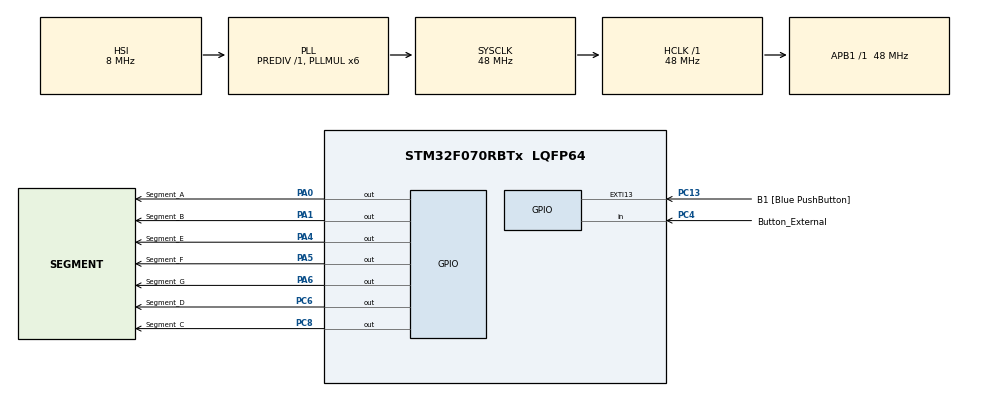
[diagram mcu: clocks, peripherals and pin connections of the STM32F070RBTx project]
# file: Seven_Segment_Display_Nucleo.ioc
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Mcu.Family=STM32F0
Mcu.Name=STM32F070RBTx
Mcu.Package=LQFP64
PA0.GPIO_Label=Segment_A
PA0.Signal=GPIO_Output
PA1.GPIO_Label=Segment_B
PA1.Signal=GPIO_Output
PA13.GPIO_Label=TMS
PA13.Mode=Serial_Wire
PA13.Signal=SYS_SWDIO
PA14.GPIO_Label=TCK
PA14.Mode=Serial_Wire
PA14.Signal=SYS_SWCLK
PA4.GPIO_Label=Segment_E
PA4.Signal=GPIO_Output
PA5.GPIO_Label=Segment_F
PA5.Signal=GPIO_Output
PA6.GPIO_Label=Segment_G
PA6.Signal=GPIO_Output
PC13.GPIO_Label=B1 [Blue PushButton]
PC13.GPIO_ModeDefaultEXTI=GPIO_MODE_IT_FALLING
PC13.Signal=GPXTI13
PC14-OSC32_IN.GPIO_Label=RCC_OSC32_IN
PC14-OSC32_IN.Mode=LSE-External-Oscillator
PC14-OSC32_IN.Signal=RCC_OSC32_IN
PC15-OSC32_OUT.GPIO_Label=RCC_OSC32_OUT
PC15-OSC32_OUT.Mode=LSE-External-Oscillator
PC15-OSC32_OUT.Signal=RCC_OSC32_OUT
PC4.GPIO_Label=Button_External
PC4.GPIO_PuPd=GPIO_PULLDOWN
PC4.Signal=GPIO_Input
PC6.GPIO_Label=Segment_D
PC6.Signal=GPIO_Output
PC8.GPIO_Label=Segment_C
PC8.Signal=GPIO_Output
PF0-OSC_IN.GPIO_Label=RCC_OSC_IN
PF0-OSC_IN.Mode=HSE-External-Clock-Source
PF0-OSC_IN.Signal=RCC_OSC_IN
PF1-OSC_OUT.GPIO_Label=RCC_OSC_OUT
PF1-OSC_OUT.Signal=RCC_OSC_OUT
ProjectManager.HeapSize=0x200
ProjectManager.StackSize=0x400
ProjectManager.TargetToolchain=STM32CubeIDE
RCC.AHBFreq_Value=48000000
RCC.APB1Freq_Value=48000000
RCC.APB1TimFreq_Value=48000000
RCC.HCLKFreq_Value=48000000
RCC.PLLMUL=RCC_PLL_MUL6
RCC.SYSCLKFreq_VALUE=48000000
RCC.SYSCLKSource=RCC_SYSCLKSOURCE_PLLCLK
board=NUCLEO-F070RB

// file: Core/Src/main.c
/* USER CODE BEGIN Header */
/**
  ******************************************************************************
  * @file           : main.c
  * @brief          : Main program body
  ******************************************************************************
  * @attention
  *
  * Copyright (c) 2023 STMicroelectronics.
  * All rights reserved.
  *
  * This software is licensed under terms that can be found in the LICENSE file
  * in the root directory of this software component.
  * If no LICENSE file comes with this software, it is provided AS-IS.
  *
  ******************************************************************************
  */
/* USER CODE END Header */
#include "main.h"

/* USER CODE BEGIN PD */

uint8_t buttonCounter = 0;
uint8_t buttonState = 0;

/* USER CODE END PD */

void SystemClock_Config(void);
static void MX_GPIO_Init(void);

int main(void)
{

  /* MCU Configuration--------------------------------------------------------*/

  /* Reset of all peripherals, Initializes the Flash interface and the Systick. */
  HAL_Init();

  /* Configure the system clock */
  SystemClock_Config();

  /* Initialize all configured peripherals */
  MX_GPIO_Init();

  /* Infinite loop */
  /* USER CODE BEGIN WHILE */
  while (1)
  {

	  if ((buttonState = (HAL_GPIO_ReadPin(Button_External_GPIO_Port, Button_External_Pin))) == 1)
	  {
		  while ((buttonState = (HAL_GPIO_ReadPin(Button_External_GPIO_Port, Button_External_Pin))) == 1);
		  HAL_Delay(300);

		  buttonCounter = buttonCounter + 1;
		  //HAL_Delay(300);

	  }

	  if (buttonCounter == 0) // Display "1"
	  {
		  HAL_GPIO_WritePin(Segment_A_GPIO_Port, Segment_A_Pin, GPIO_PIN_SET);
		  HAL_GPIO_WritePin(Segment_B_GPIO_Port, Segment_B_Pin, GPIO_PIN_SET);
		  HAL_GPIO_WritePin(Segment_C_GPIO_Port, Segment_C_Pin, GPIO_PIN_SET);
		  HAL_GPIO_WritePin(Segment_D_GPIO_Port, Segment_D_Pin, GPIO_PIN_SET);
		  HAL_GPIO_WritePin(Segment_E_GPIO_Port, Segment_E_Pin, GPIO_PIN_SET);
		  HAL_GPIO_WritePin(Segment_F_GPIO_Port, Segment_F_Pin, GPIO_PIN_SET);
		  HAL_GPIO_WritePin(Segment_G_GPIO_Port, Segment_G_Pin, GPIO_PIN_RESET);

	  }

	  else if (buttonCounter == 1) // Display "1"
	  {
		  HAL_GPIO_WritePin(Segment_A_GPIO_Port, Segment_A_Pin, GPIO_PIN_RESET);
		  HAL_GPIO_WritePin(Segment_B_GPIO_Port, Segment_B_Pin, GPIO_PIN_SET);
		  HAL_GPIO_WritePin(Segment_C_GPIO_Port, Segment_C_Pin, GPIO_PIN_SET);
		  HAL_GPIO_WritePin(Segment_D_GPIO_Port, Segment_D_Pin, GPIO_PIN_RESET);
		  HAL_GPIO_WritePin(Segment_E_GPIO_Port, Segment_E_Pin, GPIO_PIN_RESET);
		  HAL_GPIO_WritePin(Segment_F_GPIO_Port, Segment_F_Pin, GPIO_PIN_RESET);
		  HAL_GPIO_WritePin(Segment_G_GPIO_Port, Segment_G_Pin, GPIO_PIN_RESET);

	  }

	  else if (buttonCounter == 2){ // Display "2"

		  HAL_GPIO_WritePin(Segment_A_GPIO_Port, Segment_A_Pin, GPIO_PIN_SET);
		  HAL_GPIO_WritePin(Segment_B_GPIO_Port, Segment_B_Pin, GPIO_PIN_SET);
		  HAL_GPIO_WritePin(Segment_C_GPIO_Port, Segment_C_Pin, GPIO_PIN_RESET);
		  HAL_GPIO_WritePin(Segment_D_GPIO_Port, Segment_D_Pin, GPIO_PIN_SET);
		  HAL_GPIO_WritePin(Segment_E_GPIO_Port, Segment_E_Pin, GPIO_PIN_SET);
		  HAL_GPIO_WritePin(Segment_F_GPIO_Port, Segment_F_Pin, GPIO_PIN_RESET);
		  HAL_GPIO_WritePin(Segment_G_GPIO_Port, Segment_G_Pin, GPIO_PIN_SET);

	  }

	  else if (buttonCounter == 3){ // Display "3"

		  HAL_GPIO_WritePin(Segment_A_GPIO_Port, Segment_A_Pin, GPIO_PIN_SET);
		  HAL_GPIO_WritePin(Segment_B_GPIO_Port, Segment_B_Pin, GPIO_PIN_SET);
		  HAL_GPIO_WritePin(Segment_C_GPIO_Port, Segment_C_Pin, GPIO_PIN_SET);
		  HAL_GPIO_WritePin(Segment_D_GPIO_Port, Segment_D_Pin, GPIO_PIN_SET);
		  HAL_GPIO_WritePin(Segment_E_GPIO_Port, Segment_E_Pin, GPIO_PIN_RESET);
		  HAL_GPIO_WritePin(Segment_F_GPIO_Port, Segment_F_Pin, GPIO_PIN_RESET);
		  HAL_GPIO_WritePin(Segment_G_GPIO_Port, Segment_G_Pin, GPIO_PIN_SET);

	  }

	  else if (buttonCounter == 4){ // Display "4"

		  HAL_GPIO_WritePin(Segment_A_GPIO_Port, Segment_A_Pin, GPIO_PIN_RESET);
		  HAL_GPIO_WritePin(Segment_B_GPIO_Port, Segment_B_Pin, GPIO_PIN_SET);
		  HAL_GPIO_WritePin(Segment_C_GPIO_Port, Segment_C_Pin, GPIO_PIN_SET);
		  HAL_GPIO_WritePin(Segment_D_GPIO_Port, Segment_D_Pin, GPIO_PIN_RESET);
		  HAL_GPIO_WritePin(Segment_E_GPIO_Port, Segment_E_Pin, GPIO_PIN_RESET);
		  HAL_GPIO_WritePin(Segment_F_GPIO_Port, Segment_F_Pin, GPIO_PIN_SET);
		  HAL_GPIO_WritePin(Segment_G_GPIO_Port, Segment_G_Pin, GPIO_PIN_SET);

	  }

	  else if (buttonCounter == 5){ // Display "5"

		  HAL_GPIO_WritePin(Segment_A_GPIO_Port, Segment_A_Pin, GPIO_PIN_SET);
		  HAL_GPIO_WritePin(Segment_B_GPIO_Port, Segment_B_Pin, GPIO_PIN_RESET);
		  HAL_GPIO_WritePin(Segment_C_GPIO_Port, Segment_C_Pin, GPIO_PIN_SET);
		  HAL_GPIO_WritePin(Segment_D_GPIO_Port, Segment_D_Pin, GPIO_PIN_SET);
		  HAL_GPIO_WritePin(Segment_E_GPIO_Port, Segment_E_Pin, GPIO_PIN_RESET);
		  HAL_GPIO_WritePin(Segment_F_GPIO_Port, Segment_F_Pin, GPIO_PIN_SET);
		  HAL_GPIO_WritePin(Segment_G_GPIO_Port, Segment_G_Pin, GPIO_PIN_SET);

	  }

	  else if (buttonCounter == 6){ // Display "6"

		  HAL_GPIO_WritePin(Segment_A_GPIO_Port, Segment_A_Pin, GPIO_PIN_SET);
		  HAL_GPIO_WritePin(Segment_B_GPIO_Port, Segment_B_Pin, GPIO_PIN_RESET);
		  HAL_GPIO_WritePin(Segment_C_GPIO_Port, Segment_C_Pin, GPIO_PIN_SET);
		  HAL_GPIO_WritePin(Segment_D_GPIO_Port, Segment_D_Pin, GPIO_PIN_SET);
		  HAL_GPIO_WritePin(Segment_E_GPIO_Port, Segment_E_Pin, GPIO_PIN_SET);
		  HAL_GPIO_WritePin(Segment_F_GPIO_Port, Segment_F_Pin, GPIO_PIN_SET);
		  HAL_GPIO_WritePin(Segment_G_GPIO_Port, Segment_G_Pin, GPIO_PIN_SET);

	  }

	  else if (buttonCounter == 7){ // Display "7"

		  HAL_GPIO_WritePin(Segment_A_GPIO_Port, Segment_A_Pin, GPIO_PIN_SET);
		  HAL_GPIO_WritePin(Segment_B_GPIO_Port, Segment_B_Pin, GPIO_PIN_SET);
		  HAL_GPIO_WritePin(Segment_C_GPIO_Port, Segment_C_Pin, GPIO_PIN_SET);
		  HAL_GPIO_WritePin(Segment_D_GPIO_Port, Segment_D_Pin, GPIO_PIN_RESET);
		  HAL_GPIO_WritePin(Segment_E_GPIO_Port, Segment_E_Pin, GPIO_PIN_RESET);
		  HAL_GPIO_WritePin(Segment_F_GPIO_Port, Segment_F_Pin, GPIO_PIN_RESET);
		  HAL_GPIO_WritePin(Segment_G_GPIO_Port, Segment_G_Pin, GPIO_PIN_RESET);

	  }

	  else if (buttonCounter == 8){ // Display "8"

		  HAL_GPIO_WritePin(Segment_A_GPIO_Port, Segment_A_Pin, GPIO_PIN_SET);
		  HAL_GPIO_WritePin(Segment_B_GPIO_Port, Segment_B_Pin, GPIO_PIN_SET);
		  HAL_GPIO_WritePin(Segment_C_GPIO_Port, Segment_C_Pin, GPIO_PIN_SET);
		  HAL_GPIO_WritePin(Segment_D_GPIO_Port, Segment_D_Pin, GPIO_PIN_SET);
		  HAL_GPIO_WritePin(Segment_E_GPIO_Port, Segment_E_Pin, GPIO_PIN_SET);
		  HAL_GPIO_WritePin(Segment_F_GPIO_Port, Segment_F_Pin, GPIO_PIN_SET);
		  HAL_GPIO_WritePin(Segment_G_GPIO_Port, Segment_G_Pin, GPIO_PIN_SET);

	  }

	  else if (buttonCounter == 9){ // Display "9"

		  HAL_GPIO_WritePin(Segment_A_GPIO_Port, Segment_A_Pin, GPIO_PIN_SET);
		  HAL_GPIO_WritePin(Segment_B_GPIO_Port, Segment_B_Pin, GPIO_PIN_SET);
		  HAL_GPIO_WritePin(Segment_C_GPIO_Port, Segment_C_Pin, GPIO_PIN_SET);
		  HAL_GPIO_WritePin(Segment_D_GPIO_Port, Segment_D_Pin, GPIO_PIN_SET);
		  HAL_GPIO_WritePin(Segment_E_GPIO_Port, Segment_E_Pin, GPIO_PIN_RESET);
		  HAL_GPIO_WritePin(Segment_F_GPIO_Port, Segment_F_Pin, GPIO_PIN_SET);
		  HAL_GPIO_WritePin(Segment_G_GPIO_Port, Segment_G_Pin, GPIO_PIN_SET);

	  }

	  else { // Reset counter and display "0"

		  buttonCounter = 0;

	  }

    /* USER CODE END WHILE */

  }
}

void SystemClock_Config(void)
{
  RCC_OscInitTypeDef RCC_OscInitStruct = {0};
  RCC_ClkInitTypeDef RCC_ClkInitStruct = {0};

  /** Initializes the RCC Oscillators according to the specified parameters
  * in the RCC_OscInitTypeDef structure.
  */
  RCC_OscInitStruct.OscillatorType = RCC_OSCILLATORTYPE_HSI;
  RCC_OscInitStruct.HSIState = RCC_HSI_ON;
  RCC_OscInitStruct.HSICalibrationValue = RCC_HSICALIBRATION_DEFAULT;
  RCC_OscInitStruct.PLL.PLLState = RCC_PLL_ON;
  RCC_OscInitStruct.PLL.PLLSource = RCC_PLLSOURCE_HSI;
  RCC_OscInitStruct.PLL.PLLMUL = RCC_PLL_MUL6;
  RCC_OscInitStruct.PLL.PREDIV = RCC_PREDIV_DIV1;
  if (HAL_RCC_OscConfig(&RCC_OscInitStruct) != HAL_OK)
  {
    Error_Handler();
  }

  /** Initializes the CPU, AHB and APB buses clocks
  */
  RCC_ClkInitStruct.ClockType = RCC_CLOCKTYPE_HCLK|RCC_CLOCKTYPE_SYSCLK
                              |RCC_CLOCKTYPE_PCLK1;
  RCC_ClkInitStruct.SYSCLKSource = RCC_SYSCLKSOURCE_PLLCLK;
  RCC_ClkInitStruct.AHBCLKDivider = RCC_SYSCLK_DIV1;
  RCC_ClkInitStruct.APB1CLKDivider = RCC_HCLK_DIV1;

  if (HAL_RCC_ClockConfig(&RCC_ClkInitStruct, FLASH_LATENCY_1) != HAL_OK)
  {
    Error_Handler();
  }
}

static void MX_GPIO_Init(void)
{
  GPIO_InitTypeDef GPIO_InitStruct = {0};

  /* GPIO Ports Clock Enable */
  __HAL_RCC_GPIOC_CLK_ENABLE();
  __HAL_RCC_GPIOF_CLK_ENABLE();
  __HAL_RCC_GPIOA_CLK_ENABLE();

  /*Configure GPIO pin Output Level */
  HAL_GPIO_WritePin(GPIOA, Segment_A_Pin|Segment_B_Pin|Segment_E_Pin|Segment_F_Pin
                          |Segment_G_Pin, GPIO_PIN_RESET);

  /*Configure GPIO pin Output Level */
  HAL_GPIO_WritePin(GPIOC, Segment_D_Pin|Segment_C_Pin, GPIO_PIN_RESET);

  /*Configure GPIO pin : B1_Pin */
  GPIO_InitStruct.Pin = B1_Pin;
  GPIO_InitStruct.Mode = GPIO_MODE_IT_FALLING;
  GPIO_InitStruct.Pull = GPIO_NOPULL;
  HAL_GPIO_Init(B1_GPIO_Port, &GPIO_InitStruct);

  /*Configure GPIO pins : Segment_A_Pin Segment_B_Pin Segment_E_Pin Segment_F_Pin
                           Segment_G_Pin */
  GPIO_InitStruct.Pin = Segment_A_Pin|Segment_B_Pin|Segment_E_Pin|Segment_F_Pin
                          |Segment_G_Pin;
  GPIO_InitStruct.Mode = GPIO_MODE_OUTPUT_PP;
  GPIO_InitStruct.Pull = GPIO_NOPULL;
  GPIO_InitStruct.Speed = GPIO_SPEED_FREQ_LOW;
  HAL_GPIO_Init(GPIOA, &GPIO_InitStruct);

  /*Configure GPIO pin : Button_External_Pin */
  GPIO_InitStruct.Pin = Button_External_Pin;
  GPIO_InitStruct.Mode = GPIO_MODE_INPUT;
  GPIO_InitStruct.Pull = GPIO_PULLDOWN;
  HAL_GPIO_Init(Button_External_GPIO_Port, &GPIO_InitStruct);

  /*Configure GPIO pins : Segment_D_Pin Segment_C_Pin */
  GPIO_InitStruct.Pin = Segment_D_Pin|Segment_C_Pin;
  GPIO_InitStruct.Mode = GPIO_MODE_OUTPUT_PP;
  GPIO_InitStruct.Pull = GPIO_NOPULL;
  GPIO_InitStruct.Speed = GPIO_SPEED_FREQ_LOW;
  HAL_GPIO_Init(GPIOC, &GPIO_InitStruct);

}

void Error_Handler(void)
{
  __disable_irq();
  while (1)
  {
  }
}
